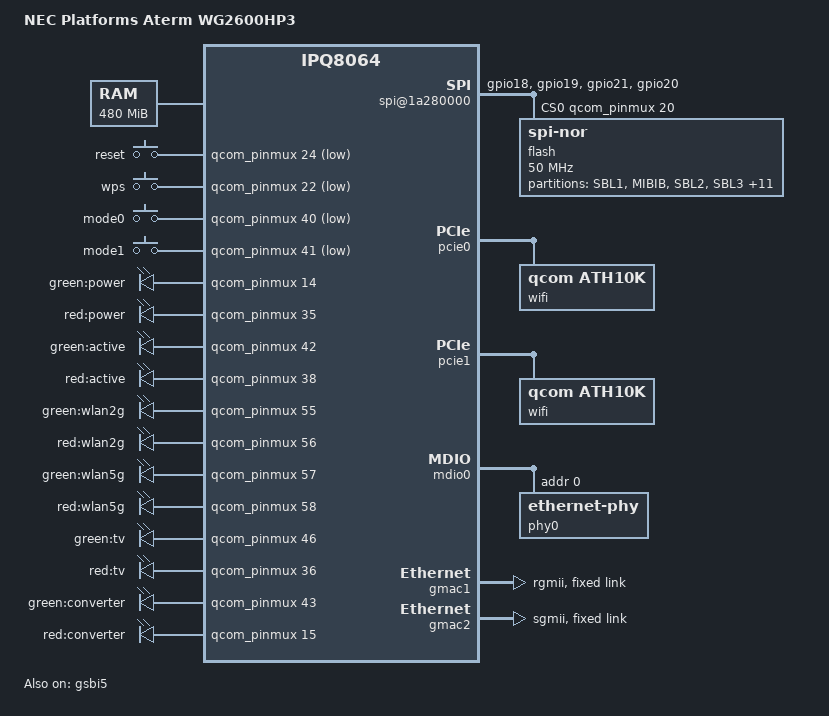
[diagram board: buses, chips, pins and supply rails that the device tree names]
// SPDX-License-Identifier: GPL-2.0-or-later OR MIT

#include "qcom-ipq8062.dtsi"
#include <dt-bindings/input/input.h>

/delete-node/ &nand_pins;

/ {
	model = "NEC Platforms Aterm WG2600HP3";
	compatible = "nec,wg2600hp3", "qcom,ipq8062", "qcom,ipq8064";

	memory {
		device_type = "memory";
		reg =  <0x42000000 0x1e000000>;
	};

	aliases {
		label-mac-device = &gmac2;

		led-boot = &led_power_green;
		led-failsafe = &led_power_red;
		led-running = &led_power_green;
		led-upgrade = &led_power_red;
	};

	keys {
		compatible = "gpio-keys";

		pinctrl-0 = <&buttons_pins>;
		pinctrl-names = "default";

		reset {
			label = "reset";
			gpios = <&qcom_pinmux 24 GPIO_ACTIVE_LOW>;
			linux,code = <KEY_RESTART>;
			debounce-interval = <60>;
			wakeup-source;
		};

		wps {
			label = "wps";
			gpios = <&qcom_pinmux 22 GPIO_ACTIVE_LOW>;
			linux,code = <KEY_WPS_BUTTON>;
			debounce-interval = <60>;
			wakeup-source;
		};

		mode0 {
			label = "mode0";
			gpios = <&qcom_pinmux 40 GPIO_ACTIVE_LOW>;
			linux,code = <BTN_0>;
			linux,input-type = <EV_SW>;
			debounce-interval = <60>;
			wakeup-source;
		};

		mode1 {
			label = "mode1";
			gpios = <&qcom_pinmux 41 GPIO_ACTIVE_LOW>;
			linux,code = <BTN_1>;
			linux,input-type = <EV_SW>;
			debounce-interval = <60>;
			wakeup-source;
		};
	};

	leds {
		compatible = "gpio-leds";

		pinctrl-0 = <&leds_pins>;
		pinctrl-names = "default";

		led_power_green: power_green {
			label = "green:power";
			gpios = <&qcom_pinmux 14 GPIO_ACTIVE_HIGH>;
		};

		led_power_red: power_red {
			label = "red:power";
			gpios = <&qcom_pinmux 35 GPIO_ACTIVE_HIGH>;
		};

		active_green {
			label = "green:active";
			gpios = <&qcom_pinmux 42 GPIO_ACTIVE_HIGH>;
		};

		active_red {
			label = "red:active";
			gpios = <&qcom_pinmux 38 GPIO_ACTIVE_HIGH>;
		};

		wlan2g_green {
			label = "green:wlan2g";
			gpios = <&qcom_pinmux 55 GPIO_ACTIVE_HIGH>;
			linux,default-trigger = "phy1tpt";
		};

		wlan2g_red {
			label = "red:wlan2g";
			gpios = <&qcom_pinmux 56 GPIO_ACTIVE_HIGH>;
		};

		wlan5g_green {
			label = "green:wlan5g";
			gpios = <&qcom_pinmux 57 GPIO_ACTIVE_HIGH>;
			linux,default-trigger = "phy0tpt";
		};

		wlan5g_red {
			label = "red:wlan5g";
			gpios = <&qcom_pinmux 58 GPIO_ACTIVE_HIGH>;
		};

		tv_green {
			label = "green:tv";
			gpios = <&qcom_pinmux 46 GPIO_ACTIVE_HIGH>;
		};

		tv_red {
			label = "red:tv";
			gpios = <&qcom_pinmux 36 GPIO_ACTIVE_HIGH>;
		};

		converter_green {
			label = "green:converter";
			gpios = <&qcom_pinmux 43 GPIO_ACTIVE_HIGH>;
		};

		converter_red {
			label = "red:converter";
			gpios = <&qcom_pinmux 15 GPIO_ACTIVE_HIGH>;
		};
	};
};

&qcom_pinmux {
	pinctrl-0 = <&akro_pins>;
	pinctrl-names = "default";

	spi_pins: spi_pins {
		mux {
			pins = "gpio18", "gpio19", "gpio21";
			function = "gsbi5";
			bias-pull-down;
		};

		data {
			pins = "gpio18", "gpio19";
			drive-strength = <10>;
		};

		cs {
			pins = "gpio20";
			drive-strength = <10>;
		};

		clk {
			pins = "gpio21";
			drive-strength = <12>;
		};
	};

	buttons_pins: buttons_pins {
		mux {
			pins = "gpio22", "gpio24", "gpio40",
				"gpio41";
			function = "gpio";
			drive-strength = <2>;
			bias-pull-up;
		};
	};

	leds_pins: leds_pins {
		mux {
			pins = "gpio14", "gpio15", "gpio35",
				"gpio36", "gpio38", "gpio42",
				"gpio43", "gpio46", "gpio55",
				"gpio56", "gpio57", "gpio58";
			function = "gpio";
			bias-pull-down;
		};

		akro2 {
			pins = "gpio15", "gpio35", "gpio38",
				"gpio42", "gpio43", "gpio46",
				"gpio55", "gpio56", "gpio57",
				"gpio58";
			drive-strength = <2>;
		};

		akro4 {
			pins = "gpio14", "gpio36";
			drive-strength = <4>;
		};
	};

	/*
	 * Stock firmware has the following settings, so let's do the same.
	 * I don't sure why these are required.
	 */
	akro_pins: akro_pinmux {
		akro {
			pins = "gpio17", "gpio26", "gpio47";
			function = "gpio";
			drive-strength = <2>;
			bias-pull-down;
		};

		reset {
			pins = "gpio45";
			function = "gpio";
			drive-strength = <2>;
			bias-disable;
			output-low;
		};

		gmac0_rgmii {
			pins = "gpio25";
			function = "gpio";
			drive-strength = <8>;
			bias-disable;
		};
	};
};

&gsbi5 {
	status = "okay";
	qcom,mode = <GSBI_PROT_SPI>;

	spi@1a280000 {
		status = "okay";

		pinctrl-0 = <&spi_pins>;
		pinctrl-names = "default";

		cs-gpios = <&qcom_pinmux 20 GPIO_ACTIVE_HIGH>;

		flash@0 {
			compatible = "jedec,spi-nor";
			reg = <0>;
			spi-max-frequency = <50000000>;
			m25p,fast-read;

			partitions {
				compatible = "fixed-partitions";
				#address-cells = <1>;
				#size-cells = <1>;

				partition@0 {
					label = "SBL1";
					reg = <0x0000000 0x0020000>;
					read-only;
				};

				partition@20000 {
					label = "MIBIB";
					reg = <0x0020000 0x0020000>;
					read-only;
				};

				partition@40000 {
					label = "SBL2";
					reg = <0x0040000 0x0040000>;
					read-only;
				};

				partition@80000 {
					label = "SBL3";
					reg = <0x0080000 0x0080000>;
					read-only;
				};

				partition@100000 {
					label = "DDRCONFIG";
					reg = <0x0100000 0x0010000>;
					read-only;
				};

				partition@110000 {
					label = "SSD";
					reg = <0x0110000 0x0010000>;
					read-only;
				};

				partition@120000 {
					label = "TZ";
					reg = <0x0120000 0x0080000>;
					read-only;
				};

				partition@1a0000 {
					label = "RPM";
					reg = <0x01a0000 0x0080000>;
					read-only;
				};

				partition@220000 {
					label = "APPSBL";
					reg = <0x0220000 0x0080000>;
					read-only;
				};

				partition@2a0000 {
					label = "APPSBLENV";
					reg = <0x02a0000 0x0010000>;
					read-only;
				};

				factory: partition@2b0000 {
					label = "PRODUCTDATA";
					reg = <0x02b0000 0x0030000>;
					read-only;
				};

				partition@2e0000 {
					label = "ART";
					reg = <0x02e0000 0x0040000>;
					read-only;
				};

				partition@320000 {
					label = "TP";
					reg = <0x0320000 0x0040000>;
					read-only;
				};

				partition@360000 {
					label = "TINY";
					reg = <0x0360000 0x0500000>;
					read-only;
				};

				partition@860000 {
					compatible = "denx,uimage";
					label = "firmware";
					reg = <0x0860000 0x17a0000>;
				};
			};
		};
	};
};

&adm_dma {
	status = "okay";
};

&pcie0 {
	status = "okay";

	bridge@0,0 {
		reg = <0x00000000 0 0 0 0>;
		#address-cells = <3>;
		#size-cells = <2>;
		ranges;

		wifi@1,0 {
			compatible = "qcom,ath10k";
			reg = <0x00010000 0 0 0 0>;

			qcom,ath10k-calibration-variant = "NEC-Platforms-WG2600HP3";
		};
	};
};

&pcie1 {
	status = "okay";
	force_gen1 = <1>;

	bridge@0,0 {
		reg = <0x00000000 0 0 0 0>;
		#address-cells = <3>;
		#size-cells = <2>;
		ranges;

		wifi@1,0 {
			compatible = "qcom,ath10k";
			reg = <0x00010000 0 0 0 0>;

			ieee80211-freq-limit = <2400000 2483000>;
			qcom,ath10k-calibration-variant = "NEC-Platforms-WG2600HP3";
		};
	};
};

&mdio0 {
	status = "okay";

	pinctrl-0 = <&mdio0_pins>;
	pinctrl-names = "default";

	phy0: ethernet-phy@0 {
		reg = <0>;
		qca,ar8327-initvals = <
			0x04 0x80080080  /* PAD0_MODE */
			0x0c 0x06000000  /* PAD6_MODE */
			0x10 0x002613a0  /* PWS_REG */
			0x50 0xcc36cc36  /* LED_CTRL0 */
			0x54 0xca36ca36  /* LED_CTRL1 */
			0x58 0xc936c936  /* LED_CTRL2 */
			0x5c 0x03ffff00  /* LED_CTRL3 */
			0x7c 0x0000004e  /* PORT0_STATUS */
			0x94 0x0000004e  /* PORT6_STATUS */
			0xe0 0xc74164de  /* SGMII_CTRL */
			0xe4 0x0006a545  /* MAC_PWR_SEL */
			>;
	};
};

&gmac1 {
	status = "okay";

	pinctrl-0 = <&rgmii2_pins>;
	pinctrl-names = "default";

	phy-mode = "rgmii";
	qcom,id = <1>;
	mdiobus = <&mdio0>;
	mtd-mac-address = <&factory 0x0>;

	fixed-link {
		speed = <1000>;
		full-duplex;
	};
};

&gmac2 {
	status = "okay";
	phy-mode = "sgmii";
	qcom,id = <2>;
	mdiobus = <&mdio0>;
	mtd-mac-address = <&factory 0x6>;

	fixed-link {
		speed = <1000>;
		full-duplex;
	};
};
